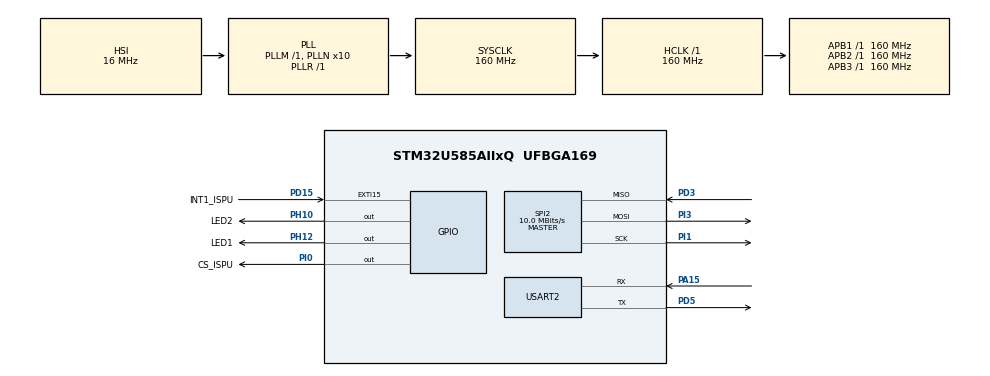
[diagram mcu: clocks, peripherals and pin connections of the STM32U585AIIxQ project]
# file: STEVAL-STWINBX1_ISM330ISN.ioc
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CORTEX_M33_NS.userName=CORTEX_M33
Mcu.Family=STM32U5
Mcu.Name=STM32U585AIIxQ
Mcu.Package=UFBGA169
NVIC.EXTI15_IRQn=true\:0\:0\:false\:false\:true\:true\:true\:true
NVIC.PriorityGroup=NVIC_PRIORITYGROUP_4
PA15\ (JTDI).Mode=Asynchronous
PA15\ (JTDI).Signal=USART2_RX
PD15.GPIO_Label=INT1_ISPU
PD15.Signal=GPXTI15
PD3.GPIO_Speed=GPIO_SPEED_FREQ_VERY_HIGH
PD3.Mode=Full_Duplex_Master
PD3.Signal=SPI2_MISO
PD5.Mode=Asynchronous
PD5.Signal=USART2_TX
PH10.GPIO_Label=LED2
PH10.Signal=GPIO_Output
PH12.GPIO_Label=LED1
PH12.Signal=GPIO_Output
PI0.GPIO_Label=CS_ISPU
PI0.GPIO_Speed=GPIO_SPEED_FREQ_VERY_HIGH
PI0.PinState=GPIO_PIN_RESET
PI0.Signal=GPIO_Output
PI1.GPIO_Speed=GPIO_SPEED_FREQ_VERY_HIGH
PI1.Mode=Full_Duplex_Master
PI1.Signal=SPI2_SCK
PI3.GPIO_Speed=GPIO_SPEED_FREQ_VERY_HIGH
PI3.Mode=Full_Duplex_Master
PI3.Signal=SPI2_MOSI
ProjectManager.HeapSize=0x200
ProjectManager.StackSize=0x400
ProjectManager.TargetToolchain=STM32CubeIDE
RCC.ADCCLockSelection=RCC_ADCDACCLKSOURCE_PLL2
RCC.ADCFreq_Value=3840000
RCC.AHBFreq_Value=160000000
RCC.APB1Freq_Value=160000000
RCC.APB1TimFreq_Value=160000000
RCC.APB2Freq_Value=160000000
RCC.APB2TimFreq_Value=160000000
RCC.APB3Freq_Value=160000000
RCC.AdfClockSelection=RCC_ADF1CLKSOURCE_PLL3
RCC.CortexFreq_Value=160000000
RCC.DACCLockSelectionVirtual=RCC_DAC1CLKSOURCE_LSI
RCC.DACCLockSelectionVirtualString=RCC_DAC1CLKSOURCE_LSI
RCC.EPOD_VALUE=16000000
RCC.HCLKFreq_Value=160000000
RCC.HSE_VALUE=16000000
RCC.HSI48_VALUE=48000000
RCC.HSI_VALUE=16000000
RCC.LSE_VALUE=32768
RCC.LSIDIV_VALUE=32000
RCC.MSI_VALUE=4000000
RCC.MdfClockSelection=RCC_MDF1CLKSOURCE_PLL3
RCC.PLL1R=1
RCC.PLL2FRACN=0
RCC.PLL2M=2
RCC.PLL2N=48
RCC.PLL2Q=7
RCC.PLL2R=25
RCC.PLL3FRACN=0
RCC.PLL3M=2
RCC.PLL3N=48
RCC.PLL3Q=25
RCC.PLLFRACN=0
RCC.PLLN=10
RCC.PLLSourceVirtual=RCC_PLLSOURCE_HSI
RCC.SAI1CLockSelection=RCC_SAI1CLKSOURCE_PLL1
RCC.SDMMCClockSelection=RCC_SDMMCCLKSOURCE_CLK48
RCC.SPI2CLockSelection=RCC_SPI2CLKSOURCE_PCLK1
RCC.SPI3CLockSelection=RCC_SPI3CLKSOURCE_HSI
RCC.SYSCLKFreq_VALUE=160000000
RCC.SYSCLKSource=RCC_SYSCLKSOURCE_PLLCLK
RCC.USBFreq_Value=48000000
RCC.VCOOutputFreq_Value=160000000
SPI2.BaudRatePrescaler=SPI_BAUDRATEPRESCALER_16
SPI2.CLKPhase=SPI_PHASE_2EDGE
SPI2.CLKPolarity=SPI_POLARITY_HIGH
SPI2.CalculateBaudRate=10.0 MBits/s
SPI2.DataSize=SPI_DATASIZE_8BIT
SPI2.Direction=SPI_DIRECTION_2LINES
SPI2.MasterKeepIOState=SPI_MASTER_KEEP_IO_STATE_ENABLE
SPI2.Mode=SPI_MODE_MASTER
SPI2.VirtualType=VM_MASTER
USART2.VirtualMode-Asynchronous=VM_ASYNC
VP_LPBAMQUEUE_VS_QUEUE.Mode=QUEUEMODE
VP_LPBAM_VS_SIG1.Mode=SmartRun
VP_LPBAM_VS_SIG4.Mode=LPDMA1
VP_PWR_VS_LPOM.Mode=PowerOptimisation
VP_PWR_VS_SECSignals.Mode=Security/Privilege
board=STEVAL-STWINBX1

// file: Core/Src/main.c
/* USER CODE BEGIN Header */
/**
  ******************************************************************************
  * @file           : main.c
  * @brief          : Main program body
  ******************************************************************************
  * @attention
  *
  * Copyright (c) 2023 STMicroelectronics.
  * All rights reserved.
  *
  * This software is licensed under terms that can be found in the LICENSE file
  * in the root directory of this software component.
  * If no LICENSE file comes with this software, it is provided AS-IS.
  *
  ******************************************************************************
  */
/* USER CODE END Header */
#include "main.h"

/* USER CODE BEGIN Includes */
#include <string.h>
#include <stdio.h>
#include "ism330is_reg.h"
#include "cycle_dwt.h"
#include "NanoEdgeAI.h"

/* USER CODE END Includes */

/* USER CODE BEGIN PD */
#ifndef AXIS
  #define AXIS                        3                           /* Axis should be defined between 1 and 3 */
#endif
#ifndef SAMPLES
  #define SAMPLES                     128                         /* Should be between 8 & 256 */
#endif
/************************************************************ Sensors configuration part ************************************************************/
#ifndef ACCELEROMETER_ODR
  #define ACCELEROMETER_ODR           ISM330IS_XL_ODR_AT_833Hz_HP /* Shoud be between ISM330IS_XL_ODR_12Hz5 and ISM330IS_XL_ODR_AT_833Hz_HP */
#endif
#ifndef ACCELEROMETER_FS
  #define ACCELEROMETER_FS            ISM330IS_8g                 /* Should be between ISM330IS_2g and ISM330IS_8g */
#endif
/************************************************************ Datalogger / NEAI mode part ************************************************************/
#ifndef NEAI_MODE
  #define NEAI_MODE                   0                           /* 0: Datalogger mode, 1: NEAI functions mode */
#endif
#if (NEAI_MODE == 1)
  #ifndef NEAI_LEARN_NB
    #define NEAI_LEARN_NB             20                          /* Number of buffers to be learn by the NEAI library */
  #endif
#endif
/************************************************************ Datalogger / NEAI mode part ************************************************************/
/* USER CODE END PD */

SPI_HandleTypeDef hspi2;

UART_HandleTypeDef huart2;

/* USER CODE BEGIN PV */
static uint8_t whoamI, rst;
static int16_t data_raw_acceleration[3];
uint8_t neai_similarity = 0, neai_state = 0;
volatile uint8_t drdy = 0;
uint16_t neai_cnt = 0, drdy_counter = 0;
float neai_time = 0.0;
static float neai_buffer[AXIS * SAMPLES] = {0.0};
stmdev_ctx_t dev_ctx;

/* USER CODE END PV */

void SystemClock_Config(void);
static void MX_GPIO_Init(void);
static void MX_USART2_UART_Init(void);
static void MX_SPI2_Init(void);
/* USER CODE BEGIN PFP */
static int32_t platform_write(void *handle, uint8_t reg, const uint8_t *bufp, uint16_t len);
static int32_t platform_read(void *handle, uint8_t reg, uint8_t *bufp, uint16_t len);
static void ism330is_initialize(void);
static float ism330is_convert_accel_data_to_mg(int16_t accel_raw_data);

/* USER CODE END PFP */

int main(void)
{
  /* USER CODE BEGIN 1 */
  dev_ctx.write_reg = platform_write;
  dev_ctx.read_reg = platform_read;
  dev_ctx.handle = &hspi2;

  /* USER CODE END 1 */

  /* MCU Configuration--------------------------------------------------------*/

  /* Reset of all peripherals, Initializes the Flash interface and the Systick. */
  HAL_Init();

  /* Configure the system clock */
  SystemClock_Config();

  /* Initialize all configured peripherals */
  MX_GPIO_Init();
  MX_USART2_UART_Init();
  MX_SPI2_Init();
  /* USER CODE BEGIN 2 */
  KIN1_InitCycleCounter();
  KIN1_EnableCycleCounter();
  ism330is_initialize();
  if (NEAI_MODE) {
    neai_state = neai_anomalydetection_init();
    printf("Initialize NEAI library. NEAI init return: %d.\n",  neai_state);
  }
  /* USER CODE END 2 */

  /* Infinite loop */
  /* USER CODE BEGIN WHILE */
  while (1)
  {
    if(drdy) {
      /* Reset data ready condition */
      drdy = 0;
      /* Read acceleration data */
      memset(data_raw_acceleration, 0x00, 3 * sizeof(int16_t));
      ism330is_acceleration_raw_get(&dev_ctx, data_raw_acceleration);
      for (uint8_t i = 0; i < AXIS; i++) {
        neai_buffer[(AXIS * drdy_counter) + i] = ism330is_convert_accel_data_to_mg(data_raw_acceleration[i]);
      }
      drdy_counter++;
      if (drdy_counter >= SAMPLES) {
#if NEAI_MODE
        uint32_t cycles_cnt = 0;
        if (neai_cnt < NEAI_LEARN_NB) {
          neai_cnt++;
          KIN1_ResetCycleCounter();
          neai_state = neai_anomalydetection_learn(neai_buffer);
          cycles_cnt = KIN1_GetCycleCounter();
          neai_time = (cycles_cnt * 1000000.0) / HAL_RCC_GetSysClockFreq();
          printf("Learn: %d / %d. NEAI learn return: %d. Cycles counter: %ld = %.1f µs at %ld Hz.\n",
            neai_cnt, NEAI_LEARN_NB, neai_state, cycles_cnt, neai_time, HAL_RCC_GetSysClockFreq());
        }
        else {
          KIN1_ResetCycleCounter();
          neai_state = neai_anomalydetection_detect(neai_buffer, &neai_similarity);
          cycles_cnt = KIN1_GetCycleCounter();
          neai_time = (cycles_cnt * 1000000.0) / HAL_RCC_GetSysClockFreq();
          printf("Similarity: %d / 100. NEAI detect return: %d. Cycles counter: %ld = %.1f µs at %ld Hz.\n",
            neai_similarity, neai_state, cycles_cnt, neai_time, HAL_RCC_GetSysClockFreq());
        }
#else
        for (uint16_t i = 0; i < AXIS * SAMPLES; i++) {
          printf("%.3f ", neai_buffer[i]);
        }
        printf("\n");
#endif
        /* Reset drdy_counter in order to get a new buffer */
        drdy_counter = 0;
        /* Clean neai buffer */
        memset(neai_buffer, 0x00, AXIS * SAMPLES * sizeof(float));
        /* Read acceleration data to flush interrupt */
        memset(data_raw_acceleration, 0x00, 3 * sizeof(int16_t));
        ism330is_acceleration_raw_get(&dev_ctx, data_raw_acceleration);
      }
    }
    /* USER CODE END WHILE */

  }
}

void SystemClock_Config(void)
{
  RCC_OscInitTypeDef RCC_OscInitStruct = {0};
  RCC_ClkInitTypeDef RCC_ClkInitStruct = {0};

  /** Configure the main internal regulator output voltage
  */
  if (HAL_PWREx_ControlVoltageScaling(PWR_REGULATOR_VOLTAGE_SCALE1) != HAL_OK)
  {
    Error_Handler();
  }

  /** Initializes the CPU, AHB and APB buses clocks
  */
  RCC_OscInitStruct.OscillatorType = RCC_OSCILLATORTYPE_HSI;
  RCC_OscInitStruct.HSIState = RCC_HSI_ON;
  RCC_OscInitStruct.HSICalibrationValue = RCC_HSICALIBRATION_DEFAULT;
  RCC_OscInitStruct.PLL.PLLState = RCC_PLL_ON;
  RCC_OscInitStruct.PLL.PLLSource = RCC_PLLSOURCE_HSI;
  RCC_OscInitStruct.PLL.PLLMBOOST = RCC_PLLMBOOST_DIV1;
  RCC_OscInitStruct.PLL.PLLM = 1;
  RCC_OscInitStruct.PLL.PLLN = 10;
  RCC_OscInitStruct.PLL.PLLP = 2;
  RCC_OscInitStruct.PLL.PLLQ = 2;
  RCC_OscInitStruct.PLL.PLLR = 1;
  RCC_OscInitStruct.PLL.PLLRGE = RCC_PLLVCIRANGE_1;
  RCC_OscInitStruct.PLL.PLLFRACN = 0;
  if (HAL_RCC_OscConfig(&RCC_OscInitStruct) != HAL_OK)
  {
    Error_Handler();
  }

  /** Initializes the CPU, AHB and APB buses clocks
  */
  RCC_ClkInitStruct.ClockType = RCC_CLOCKTYPE_HCLK|RCC_CLOCKTYPE_SYSCLK
                              |RCC_CLOCKTYPE_PCLK1|RCC_CLOCKTYPE_PCLK2
                              |RCC_CLOCKTYPE_PCLK3;
  RCC_ClkInitStruct.SYSCLKSource = RCC_SYSCLKSOURCE_PLLCLK;
  RCC_ClkInitStruct.AHBCLKDivider = RCC_SYSCLK_DIV1;
  RCC_ClkInitStruct.APB1CLKDivider = RCC_HCLK_DIV1;
  RCC_ClkInitStruct.APB2CLKDivider = RCC_HCLK_DIV1;
  RCC_ClkInitStruct.APB3CLKDivider = RCC_HCLK_DIV1;

  if (HAL_RCC_ClockConfig(&RCC_ClkInitStruct, FLASH_LATENCY_4) != HAL_OK)
  {
    Error_Handler();
  }
}

static void MX_SPI2_Init(void)
{

  SPI_AutonomousModeConfTypeDef HAL_SPI_AutonomousMode_Cfg_Struct = {0};

  /* SPI2 parameter configuration*/
  hspi2.Instance = SPI2;
  hspi2.Init.Mode = SPI_MODE_MASTER;
  hspi2.Init.Direction = SPI_DIRECTION_2LINES;
  hspi2.Init.DataSize = SPI_DATASIZE_8BIT;
  hspi2.Init.CLKPolarity = SPI_POLARITY_HIGH;
  hspi2.Init.CLKPhase = SPI_PHASE_2EDGE;
  hspi2.Init.NSS = SPI_NSS_SOFT;
  hspi2.Init.BaudRatePrescaler = SPI_BAUDRATEPRESCALER_16;
  hspi2.Init.FirstBit = SPI_FIRSTBIT_MSB;
  hspi2.Init.TIMode = SPI_TIMODE_DISABLE;
  hspi2.Init.CRCCalculation = SPI_CRCCALCULATION_DISABLE;
  hspi2.Init.CRCPolynomial = 0x7;
  hspi2.Init.NSSPMode = SPI_NSS_PULSE_DISABLE;
  hspi2.Init.NSSPolarity = SPI_NSS_POLARITY_LOW;
  hspi2.Init.FifoThreshold = SPI_FIFO_THRESHOLD_01DATA;
  hspi2.Init.MasterSSIdleness = SPI_MASTER_SS_IDLENESS_00CYCLE;
  hspi2.Init.MasterInterDataIdleness = SPI_MASTER_INTERDATA_IDLENESS_00CYCLE;
  hspi2.Init.MasterReceiverAutoSusp = SPI_MASTER_RX_AUTOSUSP_DISABLE;
  hspi2.Init.MasterKeepIOState = SPI_MASTER_KEEP_IO_STATE_ENABLE;
  hspi2.Init.IOSwap = SPI_IO_SWAP_DISABLE;
  hspi2.Init.ReadyMasterManagement = SPI_RDY_MASTER_MANAGEMENT_INTERNALLY;
  hspi2.Init.ReadyPolarity = SPI_RDY_POLARITY_HIGH;
  if (HAL_SPI_Init(&hspi2) != HAL_OK)
  {
    Error_Handler();
  }
  HAL_SPI_AutonomousMode_Cfg_Struct.TriggerState = SPI_AUTO_MODE_DISABLE;
  HAL_SPI_AutonomousMode_Cfg_Struct.TriggerSelection = SPI_GRP1_GPDMA_CH0_TCF_TRG;
  HAL_SPI_AutonomousMode_Cfg_Struct.TriggerPolarity = SPI_TRIG_POLARITY_RISING;
  if (HAL_SPIEx_SetConfigAutonomousMode(&hspi2, &HAL_SPI_AutonomousMode_Cfg_Struct) != HAL_OK)
  {
    Error_Handler();
  }

}

static void MX_USART2_UART_Init(void)
{

  huart2.Instance = USART2;
  huart2.Init.BaudRate = 115200;
  huart2.Init.WordLength = UART_WORDLENGTH_8B;
  huart2.Init.StopBits = UART_STOPBITS_1;
  huart2.Init.Parity = UART_PARITY_NONE;
  huart2.Init.Mode = UART_MODE_TX_RX;
  huart2.Init.HwFlowCtl = UART_HWCONTROL_NONE;
  huart2.Init.OverSampling = UART_OVERSAMPLING_16;
  huart2.Init.OneBitSampling = UART_ONE_BIT_SAMPLE_DISABLE;
  huart2.Init.ClockPrescaler = UART_PRESCALER_DIV1;
  huart2.AdvancedInit.AdvFeatureInit = UART_ADVFEATURE_NO_INIT;
  if (HAL_UART_Init(&huart2) != HAL_OK)
  {
    Error_Handler();
  }
  if (HAL_UARTEx_SetTxFifoThreshold(&huart2, UART_TXFIFO_THRESHOLD_1_8) != HAL_OK)
  {
    Error_Handler();
  }
  if (HAL_UARTEx_SetRxFifoThreshold(&huart2, UART_RXFIFO_THRESHOLD_1_8) != HAL_OK)
  {
    Error_Handler();
  }
  if (HAL_UARTEx_DisableFifoMode(&huart2) != HAL_OK)
  {
    Error_Handler();
  }

}

static void MX_GPIO_Init(void)
{
  GPIO_InitTypeDef GPIO_InitStruct = {0};

  /* GPIO Ports Clock Enable */
  __HAL_RCC_GPIOA_CLK_ENABLE();
  __HAL_RCC_GPIOI_CLK_ENABLE();
  __HAL_RCC_GPIOH_CLK_ENABLE();
  __HAL_RCC_GPIOD_CLK_ENABLE();

  /*Configure GPIO pin Output Level */
  HAL_GPIO_WritePin(CS_ISPU_GPIO_Port, CS_ISPU_Pin, GPIO_PIN_RESET);

  /*Configure GPIO pin Output Level */
  HAL_GPIO_WritePin(GPIOH, LED1_Pin|LED2_Pin, GPIO_PIN_RESET);

  /*Configure GPIO pin : CS_ISPU_Pin */
  GPIO_InitStruct.Pin = CS_ISPU_Pin;
  GPIO_InitStruct.Mode = GPIO_MODE_OUTPUT_PP;
  GPIO_InitStruct.Pull = GPIO_NOPULL;
  GPIO_InitStruct.Speed = GPIO_SPEED_FREQ_VERY_HIGH;
  HAL_GPIO_Init(CS_ISPU_GPIO_Port, &GPIO_InitStruct);

  /*Configure GPIO pins : LED1_Pin LED2_Pin */
  GPIO_InitStruct.Pin = LED1_Pin|LED2_Pin;
  GPIO_InitStruct.Mode = GPIO_MODE_OUTPUT_PP;
  GPIO_InitStruct.Pull = GPIO_NOPULL;
  GPIO_InitStruct.Speed = GPIO_SPEED_FREQ_LOW;
  HAL_GPIO_Init(GPIOH, &GPIO_InitStruct);

  /*Configure GPIO pin : INT1_ISPU_Pin */
  GPIO_InitStruct.Pin = INT1_ISPU_Pin;
  GPIO_InitStruct.Mode = GPIO_MODE_IT_RISING;
  GPIO_InitStruct.Pull = GPIO_NOPULL;
  HAL_GPIO_Init(INT1_ISPU_GPIO_Port, &GPIO_InitStruct);

  /* EXTI interrupt init*/
  HAL_NVIC_SetPriority(EXTI15_IRQn, 0, 0);
  HAL_NVIC_EnableIRQ(EXTI15_IRQn);

}

/* USER CODE BEGIN 4 */
/**
  * @brief  Redirecting stdout to USART2 which is connected on the STLINK port
  * @retval
  * @param
  */
int __io_putchar(int ch)
{
 uint8_t c[1];
 c[0] = ch & 0x00FF;
 HAL_UART_Transmit(&huart2, &*c, 1, 10);
 return ch;
}

/**
  * @brief  EXTI line detection callback.
  * @param  GPIO_Pin Specifies the port pin connected to corresponding EXTI line.
  * @retval None
  */
void HAL_GPIO_EXTI_Rising_Callback(uint16_t GPIO_Pin)
{
  switch(GPIO_Pin) {
  case INT1_ISPU_Pin:
    drdy = 1;
    break;
  }
}

/*
 * @brief  Write generic device register (platform dependent)
 *
 * @param  handle    customizable argument. In this examples is used in
 *                   order to select the correct sensor bus handler.
 * @param  reg       register to write
 * @param  bufp      pointer to data to write in register reg
 * @param  len       number of consecutive register to write
 *
 */
static int32_t platform_write(void *handle, uint8_t reg, const uint8_t *bufp, uint16_t len)
{
  HAL_GPIO_WritePin(CS_ISPU_GPIO_Port, CS_ISPU_Pin, GPIO_PIN_RESET);
  HAL_SPI_Transmit(handle, &reg, 1, 1000);
  HAL_SPI_Transmit(handle, (uint8_t*) bufp, len, 1000);
  HAL_GPIO_WritePin(CS_ISPU_GPIO_Port, CS_ISPU_Pin, GPIO_PIN_SET);
  return 0;
}

/*
 * @brief  Read generic device register (platform dependent)
 *
 * @param  handle    customizable argument. In this examples is used in
 *                   order to select the correct sensor bus handler.
 * @param  reg       register to read
 * @param  bufp      pointer to buffer that store the data read
 * @param  len       number of consecutive register to read
 *
 */
static int32_t platform_read(void *handle, uint8_t reg, uint8_t *bufp, uint16_t len)
{
  reg |= 0x80;
  HAL_GPIO_WritePin(CS_ISPU_GPIO_Port, CS_ISPU_Pin, GPIO_PIN_RESET);
  HAL_SPI_Transmit(handle, &reg, 1, 1000);
  HAL_SPI_Receive(handle, bufp, len, 1000);
  HAL_GPIO_WritePin(CS_ISPU_GPIO_Port, CS_ISPU_Pin, GPIO_PIN_SET);
  return 0;
}

/*
 * @brief  Initialize ISM330IS
 *
 * @param  No
 *
 * @return No
 *
 */
static void ism330is_initialize()
{
  ism330is_pin_int1_route_t val;

  /* Check device ID */
  whoamI = 0;
  do {
    /* Wait sensor boot time */
    HAL_Delay(10);
    ism330is_device_id_get(&dev_ctx, &whoamI);
  } while (whoamI != ISM330IS_ID);

  /* Restore default configuration */
  ism330is_reset_set(&dev_ctx, PROPERTY_ENABLE);

  do {
    ism330is_reset_get(&dev_ctx, &rst);
  } while (rst);

  /* Accelelerometer configuration */
  ism330is_xl_data_rate_set(&dev_ctx, ACCELEROMETER_ODR);
  ism330is_xl_full_scale_set(&dev_ctx, ACCELEROMETER_FS);

  /* Flush interrupt */
  ism330is_acceleration_raw_get(&dev_ctx, data_raw_acceleration);

  /* Configure interrupt on pin int1 */
  ism330is_pin_int1_route_get(&dev_ctx, &val);
  val.drdy_xl = 1;
  ism330is_pin_int1_route_set(&dev_ctx, val);
}

/*
 * @brief  Convert accelerometer raw data to milli-G' (mg)
 *
 * @param  accel_raw_data: which is accelerometer raw data
 *                        depending on the full scale selected
 *
 * @return The converted value in milli-G' (mg)
 *
 */
static float ism330is_convert_accel_data_to_mg(int16_t accel_raw_data)
{
  float accel_data_mg = 0.0;
  switch (ACCELEROMETER_FS)
  {
  case ISM330IS_2g:
    accel_data_mg = ism330is_from_fs2g_to_mg(accel_raw_data);
    break;
  case ISM330IS_4g:
    accel_data_mg = ism330is_from_fs4g_to_mg(accel_raw_data);
    break;
  case ISM330IS_8g:
    accel_data_mg = ism330is_from_fs8g_to_mg(accel_raw_data);
    break;
  case ISM330IS_16g:
    accel_data_mg = ism330is_from_fs16g_to_mg(accel_raw_data);
    break;
  default:
    accel_data_mg = 0.0;
    break;
  }
  return accel_data_mg;
}

/* USER CODE END 4 */

void Error_Handler(void)
{
  __disable_irq();
  while (1)
  {
  }
}
